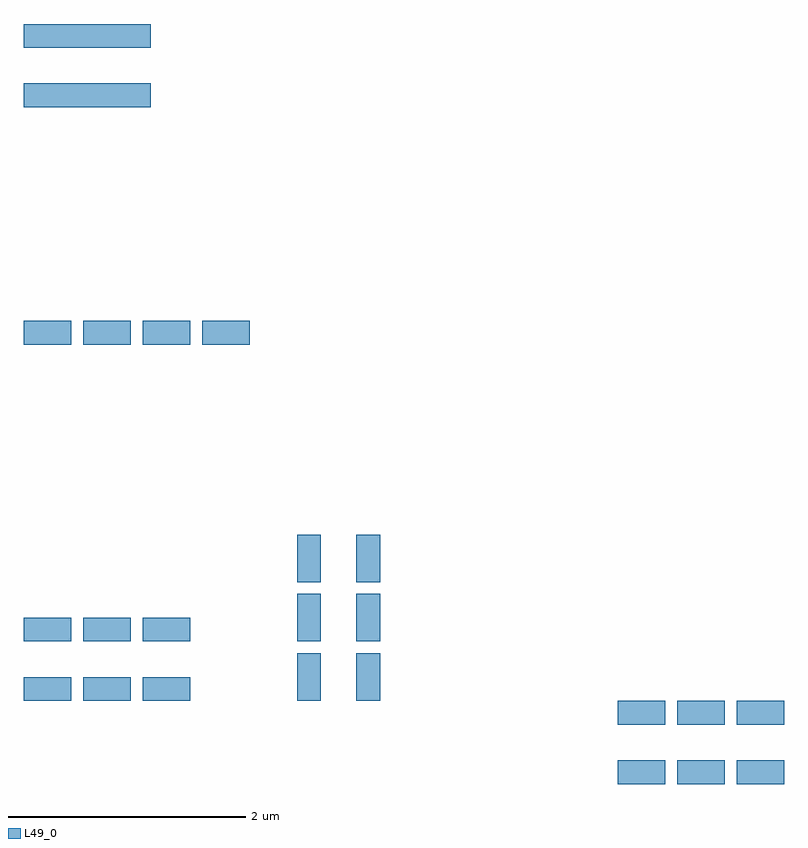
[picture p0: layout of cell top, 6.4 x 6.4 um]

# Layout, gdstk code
from math import pi, radians
import gdstk
lib = gdstk.Library(unit=1e-6, precision=1e-09)
def R(c, l, rs):  # rectangles x0, y0, x1, y1
    for r in rs: c.add(gdstk.rectangle(r[:2], r[2:], *l))
L49_0 = (49, 0)

c_c = lib.new_cell('c')
R(c_c, L49_0, [(0,0,0.4,0.2)])

top = lib.new_cell('top')
r = gdstk.Reference(c_c, (0,0)); r.repetition = gdstk.Repetition(3, 2, v1=(0.5,0), v2=(0,0.5)); top.add(r)
r = gdstk.Reference(c_c, (3,0), rotation=pi/2); r.repetition = gdstk.Repetition(3, 2, v1=(0,0.5), v2=(-0.5,0)); top.add(r)
r = gdstk.Reference(c_c, (5,0), x_reflection=True); r.repetition = gdstk.Repetition(3, 2, v1=(0.5,0), v2=(0,-0.5)); top.add(r)
r = gdstk.Reference(c_c, (0,3)); r.repetition = gdstk.Repetition(4, 1, v1=(0.5,0), v2=(0,6.999)); top.add(r)
r = gdstk.Reference(c_c, (0,5)); r.repetition = gdstk.Repetition(3, 2, v1=(0.3333,0), v2=(0,0.4995)); top.add(r)

lib.write_gds('top.gds')
